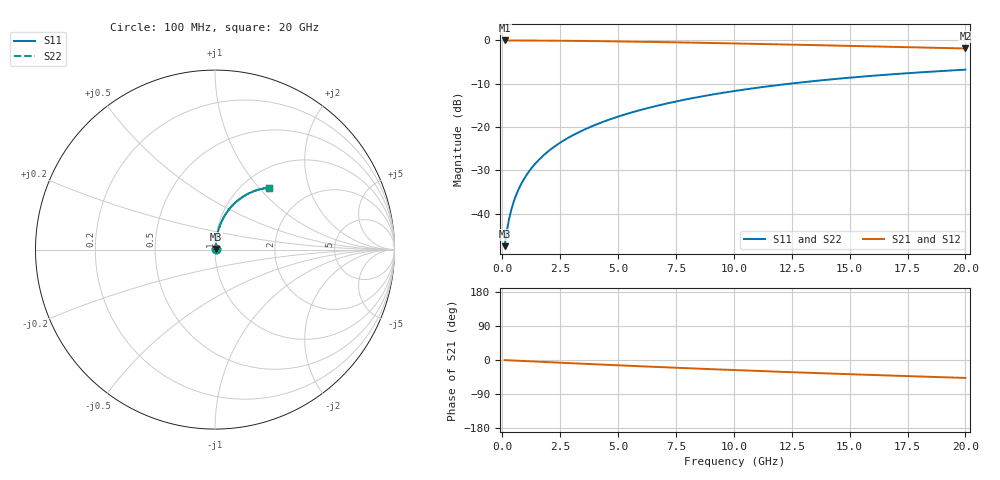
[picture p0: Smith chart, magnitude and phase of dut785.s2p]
! Touchstone file exported from HFSS 2024.1.0
!  File:  C:/UserFiles/LocalFiles/RDL_TSV_Batchsim/temp_RDL_bottom_785_1779861255.aedt
!  Generated:  01:56:13 PM May 27, 2026
!  Design:  RDL_bottom
!  Project:  temp_RDL_bottom_785_1779861255
!  Setup:  Setup1
!  Solution:  Sweep
! Variables:
!  dtsv = 10.80580581um
!  hbump = 3um
!  htsv = 96.69um
!  ldown = 635.64um
!  lrdl = 100um
!  p = 40
!  p1 = 56.55um
!  rhole = 1um
!  t = 450um
!  tdown = 4.08um
!  trdl = 3.915915916um
!  wdown = 18.29um
!  wrdl = 20um
# GHz S MA R 50.000000
! Terminal data exported
! Port[1] = RDL1_T1
! Port[2] = RDL1_T2
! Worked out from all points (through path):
!   200 points, 100 MHz to 20 GHz, reference 50 ohm
!   highest |S21| = -0.03 dB at 100 MHz (marker M1); lowest = -1.9 dB at 20 GHz (marker M2)
!   group delay of S21, straight-line fit = 6.54 ps
!   lowest |S11| = -47.5 dB at 100 MHz (marker M3), VSWR 1.01, Z = 50.3 + j0.28 ohm
!   |S11| at or under -10 dB: start of sweep to 12.43 GHz
!   |S22| runs from -47.5 to -6.8 dB; largest |S21 - S12| = 5.4e-15
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0.1  0.004205 41.4  0.9968 -0.3  0.9968 -0.3  0.004205 41.4
! Gamma 0 0 0 0
! Port Impedance 50 0 50 0
0.2  0.006412 59.1  0.9967 -0.6  0.9967 -0.6  0.006412 59.1
0.3  0.008857 67.1  0.9965 -0.9  0.9965 -0.9  0.008857 67.1
0.4  0.01136 71.5  0.9964 -1.2  0.9964 -1.2  0.01136 71.5
0.5  0.01388 74.3  0.9962 -1.5  0.9962 -1.5  0.01388 74.3
0.6  0.01642 76.3  0.996 -1.7  0.996 -1.7  0.01642 76.3
0.8  0.02153 78.8  0.9956 -2.3  0.9956 -2.3  0.02153 78.8
1.1  0.02928 80.7  0.995 -3.2  0.995 -3.2  0.02928 80.7
1.5  0.03967 81.8  0.9938 -4.3  0.9938 -4.3  0.03967 81.9
1.8  0.0475 82.2  0.9928 -5.2  0.9928 -5.2  0.0475 82.2
2.1  0.05535 82.2  0.9915 -6.0  0.9915 -6.0  0.05535 82.3
2.7  0.07108 81.9  0.9886 -7.7  0.9886 -7.7  0.07109 82.0
3.5  0.09211 81.1  0.9837 -10.0  0.9837 -10.0  0.09213 81.1
4.2  0.1105 80.1  0.9787 -11.9  0.9787 -11.9  0.1106 80.1
5  0.1316 78.8  0.9722 -14.0  0.9722 -14.0  0.1316 78.8
5.9  0.1552 77.2  0.9642 -16.4  0.9642 -16.4  0.1553 77.2
6.8  0.1787 75.5  0.9555 -18.7  0.9555 -18.7  0.1788 75.5
8.4  0.2198 72.2  0.9389 -22.7  0.9389 -22.7  0.2199 72.3
10.1  0.2619 68.7  0.9201 -26.7  0.9201 -26.7  0.2621 68.7
13.4  0.3375 61.7  0.8819 -34.1  0.8819 -34.1  0.3377 61.8
16.7  0.4031 55.0  0.8431 -41.0  0.8431 -41.0  0.4035 55.1
20  0.4585 48.8  0.8055 -47.3  0.8055 -47.3  0.4589 48.9
